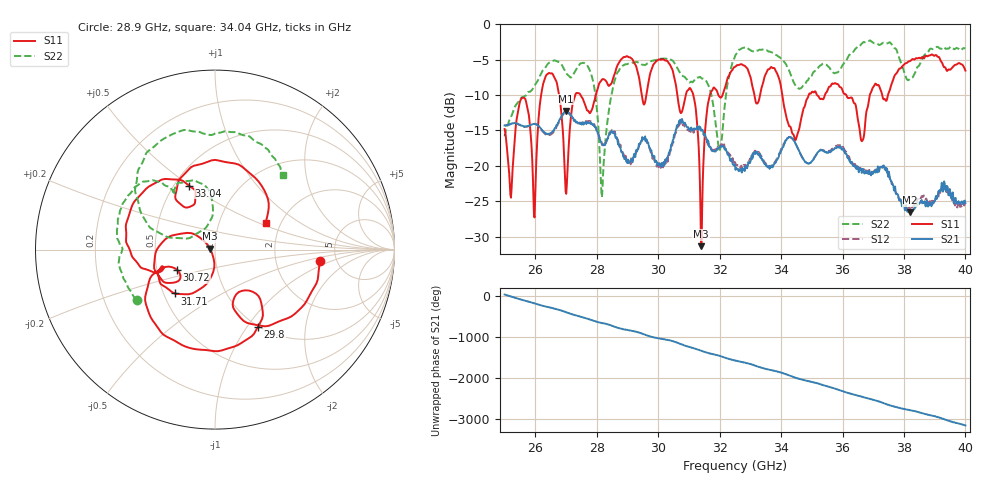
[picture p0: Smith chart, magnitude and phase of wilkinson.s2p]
!Keysight Technologies,N5225A,MY55451607,A.10.47.03
!Date: Friday, May 31, 2024 11:43:20
!Correction: S11(Full 2 Port(1,2))
!S21(Full 2 Port(1,2))
!S12(Full 2 Port(1,2))
!S22(Full 2 Port(1,2))
!S2P File: Measurements: S11, S21, S12, S22:
# Hz S  RI  R 50
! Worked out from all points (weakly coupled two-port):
!   801 points, 25 GHz to 40 GHz, reference 50 ohm
!   highest |S21| = -12.25 dB at 26.99 GHz (marker M1); lowest = -26.6 dB at 38.2 GHz (marker M2)
!   lowest |S11| = -31.3 dB at 31.39 GHz (marker M3), VSWR 1.06, Z = 47.4 + j0.424 ohm
!   |S11| at or under -10 dB: start of sweep to 26.19 GHz; 34.04 GHz to 34.9 GHz (858.2 MHz wide, 2.49 % of centre); 36.12 GHz to 36.89 GHz (764.9 MHz wide, 2.1 % of centre) (the widest 3 of 12)
!   |S22| runs from -24.4 to -2.3 dB; largest |S21 - S12| = 0.016
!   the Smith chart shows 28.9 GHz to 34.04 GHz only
!   S11 on the Smith chart (normalised r, x): 28.9 GHz: 3.72, -0.70; 29.8 GHz: 1.00, -1.13; 30.72 GHz: 0.64, -0.15; 31.71 GHz: 0.57, -0.31; 33.04 GHz: 0.59, +0.50; 34.04 GHz: 1.67, +0.55
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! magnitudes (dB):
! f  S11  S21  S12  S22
! 25 GHz  -14.8  -14.3  -14.3  -15.8
! 25.66 GHz  -10.5  -14.4  -14.5  -10.1
! 25.98 GHz  -27.3  -14.1  -14.1  -8.7
! 26.52 GHz  -6.9  -15.3  -15.5  -5.3
! 26.99 GHz  -23.7  -12.3  -12.4  -6.7
! 27.51 GHz  -10.3  -14.2  -14.1  -5.5
! 28.17 GHz  -7.8  -16.9  -17.0  -24.4
! 28.9 GHz  -4.6  -19.0  -18.7  -5.7
! 29.8 GHz  -6.2  -18.5  -18.5  -5.2
! 30.01 GHz  -5.0  -19.9  -20.2  -4.9
! 30.72 GHz  -12.4  -13.5  -14.0  -7.0
! 31.15 GHz  -10.1  -14.9  -15.3  -8.0
! 31.39 GHz  -31.3  -15.0  -14.9  -7.6
! 31.71 GHz  -9.6  -17.4  -17.5  -9.7
! 32.01 GHz  -10.3  -17.3  -17.3  -17.7
! 32.5 GHz  -6.0  -20.0  -19.5  -4.5
! 33.04 GHz  -8.3  -18.5  -18.4  -3.8
! 34.04 GHz  -9.9  -17.5  -17.3  -5.0
! 35.01 GHz  -9.5  -19.3  -19.3  -7.1
! 37.51 GHz  -9.6  -20.8  -21.4  -2.6
! 38.2 GHz  -5.2  -26.6  -26.1  -7.7
! 40 GHz  -6.5  -25.3  -25.4  -3.4
